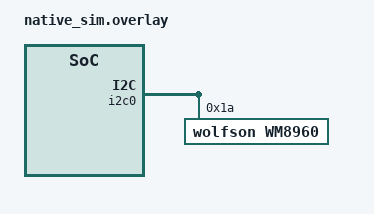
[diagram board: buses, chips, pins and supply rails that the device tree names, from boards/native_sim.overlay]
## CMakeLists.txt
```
# Copyright 2026 NXP
# SPDX-License-Identifier: Apache-2.0

cmake_minimum_required(VERSION 3.28.0)
find_package(Zephyr REQUIRED HINTS $ENV{ZEPHYR_BASE})
project(wm8960_test)

target_sources(app PRIVATE
    src/test_wm8960.c
    src/wm8960_emul.c
)

target_include_directories(app PRIVATE src)
```

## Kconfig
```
# Copyright 2026 NXP
# SPDX-License-Identifier: Apache-2.0

source "Kconfig.zephyr"

config AUDIO_CODEC_WM8960_EMUL
	bool "Wolfson WM8960 Audio Codec Emulator"
	default y
	depends on EMUL
	depends on AUDIO_CODEC_WM8960
	help
	  Enable Wolfson WM8960 audio codec emulator.

	  This emulator provides a virtual WM8960 audio codec for testing
	  purposes on native_sim and other emulation platforms.

if AUDIO_CODEC_WM8960_EMUL

config WM8960_EMUL_LOG_LEVEL
	int "WM8960 emulator log level"
	default 2
	range 0 4
	help
	  Set log level for WM8960 emulator.

	  Levels are:
	  - 0 OFF
	  - 1 ERROR
	  - 2 WARNING
	  - 3 INFO
	  - 4 DEBUG

endif # AUDIO_CODEC_WM8960_EMUL
```

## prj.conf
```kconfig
CONFIG_ZTEST=y

CONFIG_I2C=y
CONFIG_EMUL=y
CONFIG_I2C_EMUL=y

CONFIG_AUDIO=y
CONFIG_AUDIO_CODEC=y
CONFIG_TEST=y

CONFIG_LOG=y
CONFIG_AUDIO_CODEC_LOG_LEVEL_DBG=y
CONFIG_EMUL_LOG_LEVEL_DBG=y

CONFIG_HEAP_MEM_POOL_SIZE=16384
```

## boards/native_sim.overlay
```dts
/*
 * Copyright 2026 NXP
 *
 * SPDX-License-Identifier: Apache-2.0
 */

/ {
	#address-cells = <1>;
	#size-cells = <0>;

	aliases {
		wm8960 = &wm8960;
	};

	dummy_clock: dummy_clock {
		compatible = "fixed-clock";
		clock-frequency = <12288000>;
		#clock-cells = <0>;
	};
};

&i2c0 {
	#address-cells = <1>;
	#size-cells = <0>;
	status = "okay";

	wm8960: wm8960@1a {
		compatible = "wolfson,wm8960";
		reg = <0x1a>;
		clocks = <&dummy_clock>;
		hp-jd = "WM8960_JD3";
		clk-out;
		gpio1-sel = "WM8960_SYSCLK_OUT";
		left-input = "WM8960_IN_MIC_DE_13";
		right-input = "WM8960_IN_MIC_DE_12";
		status = "okay";
	};
};
```

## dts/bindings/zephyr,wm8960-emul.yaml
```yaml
# Copyright 2026 NXP
# SPDX-License-Identifier: Apache-2.0

include: [i2c-device.yaml, base.yaml]

description: WM8960 audio codec emulator
compatible: "zephyr,wm8960-emul"

properties:
  reg:
    required: true
    description: I2C device address of the emulated WM8960 codec
  wakeup-source:
    type: boolean
    description: |
      If enabled, the device can wake the system from sleep states.
  reset-gpios:
    type: phandle-array
    description: |
      GPIO connected to the codec's reset pin. This is optional and
      represents the hardware reset line if present in the system.
```

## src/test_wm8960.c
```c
/*
 * Copyright 2026 NXP
 *
 * SPDX-License-Identifier: Apache-2.0
 */

#include <zephyr/ztest.h>
#include <zephyr/device.h>
#include <zephyr/drivers/i2c.h>
#include <zephyr/drivers/i2c_emul.h>
#include <zephyr/drivers/emul.h>
#include <zephyr/audio/codec.h>
#include <zephyr/logging/log.h>

#include "wm8960_emul.h"

LOG_MODULE_REGISTER(wm8960_test, CONFIG_AUDIO_CODEC_LOG_LEVEL);

#define WM8960_NODE DT_NODELABEL(wm8960)

static const struct device *codec_dev;
static const struct emul *wm8960_emul;

static void *wm8960_setup(void)
{
	/* Get the codec device */
	codec_dev = DEVICE_DT_GET(WM8960_NODE);
	zassert_true(device_is_ready(codec_dev), "WM8960 device is not ready");

	/* Get the emulator */
	wm8960_emul = EMUL_DT_GET(WM8960_NODE);
	zassert_not_null(wm8960_emul, "WM8960 emulator not found");

	return NULL;
}

static void wm8960_before(void *fixture)
{
	ARG_UNUSED(fixture);

	/* Reset the emulator to known state before each test */
	wm8960_emul_set_reg(wm8960_emul, 0x0F, 0x0000); /* Trigger reset */
}

ZTEST_SUITE(wm8960_test, NULL, wm8960_setup, wm8960_before, NULL, NULL);

ZTEST(wm8960_test, test_wm8960_init)
{
	/* Verify that the device initialized properly */
	zassert_true(device_is_ready(codec_dev), "WM8960 device is not ready");

	/* Check that the clocking register has the expected reset value */
	LOG_INF("Clocking register: 0x%04x",
		wm8960_emul_get_reg(wm8960_emul, 0x04));

	/* Verify that the device is in a known state after initialization */
	zassert_false(wm8960_emul_is_powered_up(wm8960_emul),
			  "WM8960 should not be powered up after init");
	zassert_false(wm8960_emul_is_dac_enabled(wm8960_emul),
			  "DAC should not be enabled after init");
	zassert_false(wm8960_emul_is_adc_enabled(wm8960_emul),
			  "ADC should not be enabled after init");
	zassert_false(wm8960_emul_is_headphone_enabled(wm8960_emul),
			  "Headphone should not be enabled after init");
	zassert_false(wm8960_emul_is_speaker_enabled(wm8960_emul),
			  "Speaker should not be enabled after init");
}

ZTEST(wm8960_test, test_wm8960_configure_i2s)
{
	int ret;
	struct audio_codec_cfg config = {
		.dai_type = AUDIO_DAI_TYPE_I2S,
		.dai_route = AUDIO_ROUTE_PLAYBACK,
		.dai_cfg.i2s = {
			.word_size = 16,
			.channels = 2,
			.format = I2S_FMT_DATA_FORMAT_I2S,
			.options = I2S_OPT_FRAME_CLK_CONTROLLER | I2S_OPT_BIT_CLK_CONTROLLER,
			.frame_clk_freq = 48000,
		}};

	/* Configure the codec */
	ret = audio_codec_configure(codec_dev, &config);
	zassert_equal(ret, 0, "Failed to configure WM8960: %d", ret);

	/* Verify that the audio interface format was set correctly */
	uint8_t format = wm8960_emul_get_audio_format(wm8960_emul);

	zassert_equal(format, 2, "Audio format should be I2S (2), got %d", format);

	/* Verify that the word length was set correctly */
	uint8_t word_length = wm8960_emul_get_word_length(wm8960_emul);

	zassert_equal(word_length, 16, "Word length should be 16, got %d", word_length);
}

ZTEST(wm8960_test, test_wm8960_configure_different_word_sizes)
{
	int ret;
	struct audio_codec_cfg config = {
		.dai_type = AUDIO_DAI_TYPE_I2S,
		.dai_route = AUDIO_ROUTE_PLAYBACK,
		.dai_cfg.i2s = {
			.channels = 2,
			.format = I2S_FMT_DATA_FORMAT_I2S,
			.options = I2S_OPT_FRAME_CLK_CONTROLLER | I2S_OPT_BIT_CLK_CONTROLLER,
			.frame_clk_freq = 48000,
		}};

	/* Test different word sizes */
	uint8_t word_sizes[] = {16, 20, 24, 32};

	for (int i = 0; i < ARRAY_SIZE(word_sizes); i++) {
		config.dai_cfg.i2s.word_size = word_sizes[i];

		ret = audio_codec_configure(codec_dev, &config);
		zassert_equal(ret, 0, "Failed to configure WM8960 with %d-bit words: %d",
				  word_sizes[i], ret);

		uint8_t configured_word_length = wm8960_emul_get_word_length(wm8960_emul);

		zassert_equal(configured_word_length, word_sizes[i],
				  "Word length should be %d, got %d", word_sizes[i],
				  configured_word_length);
	}
}

ZTEST(wm8960_test, test_wm8960_configure_different_sample_rates)
{
	int ret;
	struct audio_codec_cfg config = {
		.dai_type = AUDIO_DAI_TYPE_I2S,
		.dai_route = AUDIO_ROUTE_PLAYBACK,
		.dai_cfg.i2s = {
			.word_size = 16,
			.channels = 2,
			.format = I2S_FMT_DATA_FORMAT_I2S,
			.options = I2S_OPT_FRAME_CLK_CONTROLLER | I2S_OPT_BIT_CLK_CONTROLLER,
		}};

	/* Test different sample rates */
	uint32_t sample_rates[] = {8000, 16000, 32000, 44100, 48000, 96000};

	for (int i = 0; i < ARRAY_SIZE(sample_rates); i++) {
		config.dai_cfg.i2s.frame_clk_freq = sample_rates[i];

		ret = audio_codec_configure(codec_dev, &config);
		zassert_equal(ret, 0, "Failed to configure WM8960 with %dHz: %d", sample_rates[i],
				  ret);
	}
}

ZTEST(wm8960_test, test_wm8960_configure_invalid_parameters)
{
	int ret;
	struct audio_codec_cfg config = {
		.dai_type = AUDIO_DAI_TYPE_I2S,
		.dai_route = AUDIO_ROUTE_PLAYBACK,
		.dai_cfg.i2s = {
			.word_size = 16,
			.channels = 2,
			.format = I2S_FMT_DATA_FORMAT_I2S,
			.options = I2S_OPT_FRAME_CLK_CONTROLLER | I2S_OPT_BIT_CLK_CONTROLLER,
			.frame_clk_freq = 48000,
		}};

	/* Test invalid DAI type */
	config.dai_type = 99; /* Invalid type */
	ret = audio_codec_configure(codec_dev, &config);
	zassert_not_equal(ret, 0, "Should fail with invalid DAI type");

	/* Test invalid word size */
	config.dai_type = AUDIO_DAI_TYPE_I2S;
	config.dai_cfg.i2s.word_size = 12; /* Invalid word size */
	ret = audio_codec_configure(codec_dev, &config);
	zassert_not_equal(ret, 0, "Should fail with invalid word size");

	/* Test invalid channel count */
	config.dai_cfg.i2s.word_size = 16;
	config.dai_cfg.i2s.channels = 0; /* Invalid channel count */
	ret = audio_codec_configure(codec_dev, &config);
	zassert_not_equal(ret, 0, "Should fail with invalid channel count");
}

ZTEST(wm8960_test, test_wm8960_volume_control)
{
	int ret;
	audio_property_value_t val;

	struct audio_codec_cfg config = {
		.dai_type = AUDIO_DAI_TYPE_I2S,
		.dai_route = AUDIO_ROUTE_PLAYBACK,
		.dai_cfg.i2s = {
			.word_size = 16,
			.channels = 2,
			.format = I2S_FMT_DATA_FORMAT_I2S,
			.options = I2S_OPT_FRAME_CLK_CONTROLLER | I2S_OPT_BIT_CLK_CONTROLLER,
			.frame_clk_freq = 48000,
		}};

	/* Configure the codec */
	ret = audio_codec_configure(codec_dev, &config);
	zassert_equal(ret, 0, "Failed to configure WM8960: %d", ret);

	/* Set volume to 50% (0x40) instead of 0x80 which exceeds max */
	val.vol = 0x40;
	ret = audio_codec_set_property(
		codec_dev,
		AUDIO_PROPERTY_OUTPUT_VOLUME,
		AUDIO_CHANNEL_ALL,
		val
	);
	zassert_equal(ret, 0, "Failed to set volume: %d", ret);

	/* Apply properties */
	ret = audio_codec_apply_properties(codec_dev);
	zassert_equal(ret, 0, "Failed to apply properties: %d", ret);

	/* Verify that the volume was set correctly */
	/* in wm8960 DAC volume is fixed to 0xFF */
	uint16_t left_dac_vol = wm8960_emul_get_volume(wm8960_emul, 0) & 0xFF;
	uint16_t right_dac_vol = wm8960_emul_get_volume(wm8960_emul, 1) & 0xFF;
	uint16_t left_hp_vol = wm8960_emul_get_volume(wm8960_emul, 2) & 0xFF;
	uint16_t right_hp_vol = wm8960_emul_get_volume(wm8960_emul, 3) & 0xFF;

	zassert_equal(
		left_dac_vol,
		0xFF,
		"Left DAC volume should be 0xFF, got 0x%02x",
		left_dac_vol
	);
	zassert_equal(
		right_dac_vol,
		0xFF,
		"Right DAC volume should be 0xFF, got 0x%02x",
		right_dac_vol
	);
	zassert_equal(
		left_hp_vol,
		0x40,
		"Left headphone volume should be 0x40, got 0x%02x",
		left_hp_vol
	);
	zassert_equal(
		right_hp_vol,
		0x40,
		"Right headphone volume should be 0x40, got 0x%02x",
		right_hp_vol
	);

	/* Test mute */
	val.mute = true;
	ret = audio_codec_set_property(codec_dev, AUDIO_PROPERTY_OUTPUT_MUTE, AUDIO_CHANNEL_ALL,
					   val);
	zassert_equal(ret, 0, "Failed to set mute: %d", ret);

	/* Apply properties */
	ret = audio_codec_apply_properties(codec_dev);
	zassert_equal(ret, 0, "Failed to apply properties: %d", ret);

	/* Verify that the channels are muted */
	zassert_true(wm8960_emul_is_muted(wm8960_emul, 2), "Left channel should be muted");
	zassert_true(wm8960_emul_is_muted(wm8960_emul, 3), "Right channel should be muted");

	/* Unmute */
	val.mute = false;
	ret = audio_codec_set_property(codec_dev, AUDIO_PROPERTY_OUTPUT_MUTE, AUDIO_CHANNEL_ALL,
					   val);
	zassert_equal(ret, 0, "Failed to clear mute: %d", ret);

	/* Apply properties */
	ret = audio_codec_apply_properties(codec_dev);
	zassert_equal(ret, 0, "Failed to apply properties: %d", ret);

	/* Verify that the channels are unmuted */
	zassert_false(wm8960_emul_is_muted(wm8960_emul, 2), "Left channel should be unmuted");
	zassert_false(wm8960_emul_is_muted(wm8960_emul, 3), "Right channel should be unmuted");
}

ZTEST(wm8960_test, test_wm8960_volume_boundary_values)
{
	int ret;
	audio_property_value_t val;
	uint16_t left_hp_vol;
	struct audio_codec_cfg config = {
		.dai_type = AUDIO_DAI_TYPE_I2S,
		.dai_route = AUDIO_ROUTE_PLAYBACK,
		.dai_cfg.i2s = {
			.word_size = 16,
			.channels = 2,
			.format = I2S_FMT_DATA_FORMAT_I2S,
			.options = I2S_OPT_FRAME_CLK_CONTROLLER | I2S_OPT_BIT_CLK_CONTROLLER,
			.frame_clk_freq = 48000,
		}};

	/* Configure the codec */
	ret = audio_codec_configure(codec_dev, &config);
	zassert_equal(ret, 0, "Failed to configure WM8960: %d", ret);

	/* Test minimum volume (0x00) */
	val.vol = 0x00;
	ret = audio_codec_set_property(codec_dev, AUDIO_PROPERTY_OUTPUT_VOLUME, AUDIO_CHANNEL_ALL,
					   val);
	zassert_equal(ret, 0, "Failed to set minimum volume: %d", ret);

	ret = audio_codec_apply_properties(codec_dev);
	zassert_equal(ret, 0, "Failed to apply minimum volume: %d", ret);

	left_hp_vol = wm8960_emul_get_volume(wm8960_emul, 2) & 0xFF;
	zassert_equal(left_hp_vol, 0x00, "Left volume should be 0x00, got 0x%02x", left_hp_vol);

	/* Test maximum volume (0x7F) - WM8960 max is 0x7F, not 0xFF */
	val.vol = 0x7F;
	ret = audio_codec_set_property(codec_dev, AUDIO_PROPERTY_OUTPUT_VOLUME, AUDIO_CHANNEL_ALL,
					   val);
	zassert_equal(ret, 0, "Failed to set maximum volume: %d", ret);

	ret = audio_codec_apply_properties(codec_dev);
	zassert_equal(ret, 0, "Failed to apply maximum volume: %d", ret);

	left_hp_vol = wm8960_emul_get_volume(wm8960_emul, 2) & 0xFF;
	zassert_equal(left_hp_vol, 0x7F, "Left volume should be 0x7F, got 0x%02x", left_hp_vol);
}

ZTEST(wm8960_test, test_wm8960_individual_channel_control)
{
	int ret;
	audio_property_value_t val;
	struct audio_codec_cfg config = {
		.dai_type = AUDIO_DAI_TYPE_I2S,
		.dai_route = AUDIO_ROUTE_PLAYBACK,
		.dai_cfg.i2s = {
			.word_size = 16,
			.channels = 2,
			.format = I2S_FMT_DATA_FORMAT_I2S,
			.options = I2S_OPT_FRAME_CLK_CONTROLLER | I2S_OPT_BIT_CLK_CONTROLLER,
			.frame_clk_freq = 48000,
		}};

	/* Configure the codec */
	ret = audio_codec_configure(codec_dev, &config);
	zassert_equal(ret, 0, "Failed to configure WM8960: %d", ret);

	/* Set left channel volume to 25% (0x20) */
	val.vol = 0x20;
	ret = audio_codec_set_property(codec_dev, AUDIO_PROPERTY_OUTPUT_VOLUME,
					   AUDIO_CHANNEL_FRONT_LEFT, val);
	zassert_equal(ret, 0, "Failed to set left volume: %d", ret);

	/* Set right channel volume to 75% (0x60) */
	val.vol = 0x60;
	ret = audio_codec_set_property(codec_dev, AUDIO_PROPERTY_OUTPUT_VOLUME,
					   AUDIO_CHANNEL_FRONT_RIGHT, val);
	zassert_equal(ret, 0, "Failed to set right volume: %d", ret);

	/* Apply properties */
	ret = audio_codec_apply_properties(codec_dev);
	zassert_equal(ret, 0, "Failed to apply properties: %d", ret);

	/* Verify that the volumes were set correctly */
	uint16_t left_vol = wm8960_emul_get_volume(wm8960_emul, 2) & 0xFF;
	uint16_t right_vol = wm8960_emul_get_volume(wm8960_emul, 3) & 0xFF;

	zassert_equal(left_vol, 0x20, "Left volume should be 0x20, got 0x%02x", left_vol);
	zassert_equal(right_vol, 0x60, "Right volume should be 0x60, got 0x%02x", right_vol);

	/* Mute only left channel */
	val.mute = true;
	ret = audio_codec_set_property(codec_dev, AUDIO_PROPERTY_OUTPUT_MUTE,
					   AUDIO_CHANNEL_FRONT_LEFT, val);
	zassert_equal(ret, 0, "Failed to mute left channel: %d", ret);

	/* Apply properties */
	ret = audio_codec_apply_properties(codec_dev);
	zassert_equal(ret, 0, "Failed to apply properties: %d", ret);

	/* Verify left output is muted and right is not */
	zassert_true(wm8960_emul_is_muted(wm8960_emul, 2), "Left channel should be muted");
	zassert_false(wm8960_emul_is_muted(wm8960_emul, 3), "Right channel shouldn't be muted");
}

ZTEST(wm8960_test, test_wm8960_input_volume_control)
{
	int ret;
	audio_property_value_t val;
	struct audio_codec_cfg config = {
		.dai_type = AUDIO_DAI_TYPE_I2S,
		.dai_route = AUDIO_ROUTE_PLAYBACK_CAPTURE,
		.dai_cfg.i2s = {
			.word_size = 16,
			.channels = 2,
			.format = I2S_FMT_DATA_FORMAT_I2S,
			.options = I2S_OPT_FRAME_CLK_CONTROLLER | I2S_OPT_BIT_CLK_CONTROLLER,
			.frame_clk_freq = 48000,
		}};

	/* Configure the codec */
	ret = audio_codec_configure(codec_dev, &config);
	zassert_equal(ret, 0, "Failed to configure WM8960: %d", ret);

	/* Set input volume to 50% (0x40) */
	val.vol = 0x40;
	ret = audio_codec_set_property(codec_dev,
		AUDIO_PROPERTY_INPUT_VOLUME,
		AUDIO_CHANNEL_ALL,
		val
	);
	zassert_equal(ret, 0, "Failed to set input volume: %d", ret);

	/* Apply properties */
	ret = audio_codec_apply_properties(codec_dev);
	zassert_equal(ret, 0, "Failed to apply input volume: %d", ret);

	/* Verify that the input volume was set correctly */
	uint16_t right_adc_vol = wm8960_emul_get_volume(wm8960_emul, 7) & 0xFF; /* Right ADC */

	zassert_equal(
		right_adc_vol,
		0x40,
		"Right ADC volume should be 0x40, got 0x%02x",
		right_adc_vol
	);

	/* Test input mute */
	val.mute = true;
	ret = audio_codec_set_property(codec_dev, AUDIO_PROPERTY_INPUT_MUTE, AUDIO_CHANNEL_ALL,
					   val);
	zassert_equal(ret, 0, "Failed to set input mute: %d", ret);

	ret = audio_codec_apply_properties(codec_dev);
	zassert_equal(ret, 0, "Failed to apply input mute: %d", ret);
}

ZTEST(wm8960_test, test_wm8960_invalid_properties)
{
	int ret;
	audio_property_value_t val;
	struct audio_codec_cfg config = {
		.dai_type = AUDIO_DAI_TYPE_I2S,
		.dai_route = AUDIO_ROUTE_PLAYBACK,
		.dai_cfg.i2s = {
			.word_size = 16,
			.channels = 2,
			.format = I2S_FMT_DATA_FORMAT_I2S,
			.options = I2S_OPT_FRAME_CLK_CONTROLLER | I2S_OPT_BIT_CLK_CONTROLLER,
			.frame_clk_freq = 48000,
		}};

	/* Configure the codec */
	ret = audio_codec_configure(codec_dev, &config);
	zassert_equal(ret, 0, "Failed to configure WM8960: %d", ret);

	/* Test invalid property */
	val.vol = 0x80;
	ret = audio_codec_set_property(codec_dev, 999, AUDIO_CHANNEL_ALL, val);
	zassert_not_equal(ret, 0, "Should fail with invalid property");

	/* Test invalid channel */
	ret = audio_codec_set_property(codec_dev, AUDIO_PROPERTY_OUTPUT_VOLUME, 999, val);
	zassert_not_equal(ret, 0, "Should fail with invalid channel");
}

ZTEST(wm8960_test, test_wm8960_reset)
{
	int ret;
	struct audio_codec_cfg config = {
		.dai_type = AUDIO_DAI_TYPE_I2S,
		.dai_route = AUDIO_ROUTE_PLAYBACK_CAPTURE,
		.dai_cfg.i2s = {
			.word_size = 16,
			.channels = 2,
			.format = I2S_FMT_DATA_FORMAT_I2S,
			.options = I2S_OPT_FRAME_CLK_CONTROLLER | I2S_OPT_BIT_CLK_CONTROLLER,
			.frame_clk_freq = 48000,
		}
	};

	/* Configure the codec */
	ret = audio_codec_configure(codec_dev, &config);
	zassert_equal(ret, 0, "Failed to configure WM8960: %d", ret);

	/* Verify that the codec is powered up */
	zassert_true(wm8960_emul_is_powered_up(wm8960_emul),
			 "WM8960 should be powered up");

	/* Trigger a reset by writing to the reset register */
	wm8960_emul_set_reg(wm8960_emul, 0x0F, 0x0000);

	/* Verify that the codec is reset to default state */
	zassert_false(wm8960_emul_is_powered_up(wm8960_emul),
			  "WM8960 should be powered down after reset");
	zassert_false(wm8960_emul_is_dac_enabled(wm8960_emul),
			  "DAC should be disabled after reset");
	zassert_false(wm8960_emul_is_adc_enabled(wm8960_emul),
			  "ADC should be disabled after reset");

	/* Verify that the volume registers are reset to default values */
	uint16_t left_dac_vol = wm8960_emul_get_volume(wm8960_emul, 0);

	zassert_equal(left_dac_vol, 0x00FF, "Left DAC volume should be reset to 0x00FF, got 0x%04x",
			  left_dac_vol);
}

ZTEST(wm8960_test, test_wm8960_pll_configuration)
{
	/* Test PLL enable/disable functionality */
	zassert_false(wm8960_emul_is_pll_enabled(wm8960_emul), "PLL should be disabled by default");

	/* Enable PLL by setting CLKSEL bit */
	wm8960_emul_set_reg(wm8960_emul, 0x04, 0x0001); /* CLOCKING_1 register */
	zassert_true(wm8960_emul_is_pll_enabled(wm8960_emul),
			 "PLL should be enabled after setting CLKSEL");

	/* Disable PLL */
	wm8960_emul_set_reg(wm8960_emul, 0x04, 0x0000);
	zassert_false(wm8960_emul_is_pll_enabled(wm8960_emul),
			  "PLL should be disabled after clearing CLKSEL");
}

ZTEST(wm8960_test, test_wm8960_register_access)
{
	/* Test direct register access */
	uint16_t test_value = 0x0123;
	uint8_t test_reg = 0x04; /* CLOCKING_1 register */

	/* Write to register */
	wm8960_emul_set_reg(wm8960_emul, test_reg, test_value);

	/* Read back and verify */
	uint16_t read_value = wm8960_emul_get_reg(wm8960_emul, test_reg);

	zassert_equal(read_value, test_value,
			  "Register read/write mismatch: wrote 0x%04x, read 0x%04x", test_value,
			  read_value);

	/* Test invalid register access */
	uint16_t invalid_reg_value = wm8960_emul_get_reg(wm8960_emul, 0xFF);

	zassert_equal(invalid_reg_value, 0, "Invalid register should return 0");
}

ZTEST(wm8960_test, test_wm8960_speaker_output)
{
	/* Test speaker output functionality */
	audio_codec_start_output(codec_dev);

	/* Check if speaker output can be enabled */
	if (wm8960_emul_is_speaker_enabled(wm8960_emul)) {
		LOG_INF("Speaker output is enabled");

		/* Test speaker volume control */
		LOG_INF("Speaker volumes - Left: 0x%04x, Right: 0x%04x",
			wm8960_emul_get_volume(wm8960_emul, 4),
			wm8960_emul_get_volume(wm8960_emul, 5));
	}

	audio_codec_stop_output(codec_dev);
}

ZTEST(wm8960_test, test_wm8960_power_state_transitions)
{
	/* Test various power state transitions */
	int ret;
	struct audio_codec_cfg config = {
		.dai_type = AUDIO_DAI_TYPE_I2S,
		.dai_route = AUDIO_ROUTE_PLAYBACK_CAPTURE,
		.dai_cfg.i2s = {
			.word_size = 16,
			.channels = 2,
			.format = I2S_FMT_DATA_FORMAT_I2S,
			.options = I2S_OPT_FRAME_CLK_CONTROLLER | I2S_OPT_BIT_CLK_CONTROLLER,
			.frame_clk_freq = 48000,
		}
	};

	/* Initial state - all off */
	zassert_false(wm8960_emul_is_powered_up(wm8960_emul), "Should start powered down");

	/* Configure the codec */
	ret = audio_codec_configure(codec_dev, &config);
	zassert_equal(ret, 0, "Failed to configure WM8960: %d", ret);

	zassert_true(wm8960_emul_is_powered_up(wm8960_emul), "Should be powered up with output");
	zassert_true(wm8960_emul_is_dac_enabled(wm8960_emul), "DAC should be enabled");
	zassert_true(wm8960_emul_is_adc_enabled(wm8960_emul), "ADC should be enabled");

	/* Remove output, keep input */
	audio_codec_stop_output(codec_dev);
	zassert_true(wm8960_emul_is_powered_up(wm8960_emul), "Should remain powered for input");
}
```

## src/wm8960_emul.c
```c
/*
 * Copyright 2026 NXP
 *
 * SPDX-License-Identifier: Apache-2.0
 */

#include <zephyr/device.h>
#include <zephyr/drivers/emul.h>
#include <zephyr/drivers/i2c.h>
#include <zephyr/drivers/i2c_emul.h>
#include <zephyr/logging/log.h>
#include <zephyr/sys/byteorder.h>
#include <string.h>

#include "wm8960_emul.h"

LOG_MODULE_REGISTER(wolfson_wm8960_emul, CONFIG_WM8960_EMUL_LOG_LEVEL);

#define DT_DRV_COMPAT wolfson_wm8960

/* WM8960 Register definitions */
#define WM8960_REG_LEFT_INPUT_VOLUME    0x00
#define WM8960_REG_RIGHT_INPUT_VOLUME   0x01
#define WM8960_REG_LOUT1_VOLUME         0x02
#define WM8960_REG_ROUT1_VOLUME         0x03
#define WM8960_REG_CLOCKING_1           0x04
#define WM8960_REG_ADC_DAC_CTRL_1       0x05
#define WM8960_REG_ADC_DAC_CTRL_2       0x06
#define WM8960_REG_AUDIO_INTERFACE_1    0x07
#define WM8960_REG_CLOCKING_2           0x08
#define WM8960_REG_AUDIO_INTERFACE_2    0x09
#define WM8960_REG_LEFT_DAC_VOLUME      0x0A
#define WM8960_REG_RIGHT_DAC_VOLUME     0x0B
#define WM8960_REG_RESET                0x0F
#define WM8960_REG_3D_CONTROL           0x10
#define WM8960_REG_ALC1                 0x11
#define WM8960_REG_ALC2                 0x12
#define WM8960_REG_ALC3                 0x13
#define WM8960_REG_NOISE_GATE           0x14
#define WM8960_REG_LEFT_ADC_VOLUME      0x15
#define WM8960_REG_RIGHT_ADC_VOLUME     0x16
#define WM8960_REG_ADDITIONAL_CONTROL_1 0x17
#define WM8960_REG_ADDITIONAL_CONTROL_2 0x18
#define WM8960_REG_POWER_MGMT_1         0x19
#define WM8960_REG_POWER_MGMT_2         0x1A
#define WM8960_REG_ADDITIONAL_CONTROL_3 0x1B
#define WM8960_REG_ANTI_POP_1           0x1C
#define WM8960_REG_ANTI_POP_2           0x1D
#define WM8960_REG_ADCL_SIGNAL_PATH     0x20
#define WM8960_REG_ADCR_SIGNAL_PATH     0x21
#define WM8960_REG_LEFT_OUT_MIX_1       0x22
#define WM8960_REG_RIGHT_OUT_MIX_2      0x25
#define WM8960_REG_MONO_OUT_MIX_1       0x26
#define WM8960_REG_MONO_OUT_MIX_2       0x27
#define WM8960_REG_LOUT2_VOLUME         0x28
#define WM8960_REG_ROUT2_VOLUME         0x29
#define WM8960_REG_MONO_OUT_VOLUME      0x2A
#define WM8960_REG_INPUT_BOOST_MIXER_1  0x2B
#define WM8960_REG_INPUT_BOOST_MIXER_2  0x2C
#define WM8960_REG_BYPASS_1             0x2D
#define WM8960_REG_BYPASS_2             0x2E
#define WM8960_REG_POWER_MGMT_3         0x2F
#define WM8960_REG_ADDITIONAL_CONTROL_4 0x30
#define WM8960_REG_CLASS_D_CONTROL_1    0x31
#define WM8960_REG_CLASS_D_CONTROL_3    0x33
#define WM8960_REG_PLL_N                0x34
#define WM8960_REG_PLL_K1               0x35
#define WM8960_REG_PLL_K2               0x36
#define WM8960_REG_PLL_K3               0x37

/* Maximum register address */
#define WM8960_NUM_REGS 56

/* Register bit masks */
#define WM8960_REGMASK_OUT_VOL  0x00FF
#define WM8960_REGMASK_OUT_MUTE 0x0100
#define WM8960_REGMASK_OUT_VU   0x0200
#define WM8960_REGMASK_OUT_BOTH 0x0080 /* Update both channels */

/* Audio interface formats */
#define WM8960_AIF_FMT_MASK            0x0003
#define WM8960_AIF_FMT_RIGHT_JUSTIFIED 0x0000
#define WM8960_AIF_FMT_LEFT_JUSTIFIED  0x0001
#define WM8960_AIF_FMT_I2S             0x0002
#define WM8960_AIF_FMT_DSP             0x0003

/* Word lengths */
#define WM8960_AIF_WL_MASK   0x000C
#define WM8960_AIF_WL_16BITS 0x0000
#define WM8960_AIF_WL_20BITS 0x0004
#define WM8960_AIF_WL_24BITS 0x0008
#define WM8960_AIF_WL_32BITS 0x000C

/* Power management bits */
#define WM8960_POWER1_VREF 0x0040
#define WM8960_POWER1_AINL 0x0020
#define WM8960_POWER1_AINR 0x0010
#define WM8960_POWER1_ADCL 0x0008
#define WM8960_POWER1_ADCR 0x0004

#define WM8960_POWER2_DACL  0x0100
#define WM8960_POWER2_DACR  0x0080
#define WM8960_POWER2_LOUT1 0x0040
#define WM8960_POWER2_ROUT1 0x0020
#define WM8960_POWER2_SPKL  0x0010
#define WM8960_POWER2_SPKR  0x0008

#define WM8960_POWER3_LMIC  0x0020
#define WM8960_POWER3_RMIC  0x0010
#define WM8960_POWER3_LOMIX 0x0008
#define WM8960_POWER3_ROMIX 0x0004

/* Clock dividers */
#define WM8960_CLOCK1_SYSCLK_DIV_MASK 0x0070
#define WM8960_CLOCK1_SYSCLK_DIV_1    0x0000
#define WM8960_CLOCK1_SYSCLK_DIV_2    0x0010
#define WM8960_CLOCK1_SYSCLK_DIV_3    0x0020
#define WM8960_CLOCK1_SYSCLK_DIV_4    0x0030
#define WM8960_CLOCK1_SYSCLK_DIV_5    0x0040
#define WM8960_CLOCK1_SYSCLK_DIV_6    0x0050

#define WM8960_CLOCK1_CLKSEL_MCLK 0x0000
#define WM8960_CLOCK1_CLKSEL_PLL  0x0001

struct wm8960_emul_data {
	uint16_t reg[WM8960_NUM_REGS];
	uint8_t current_reg;
	bool reg_addr_set;
	bool powered_up;
	bool dac_enabled;
	bool adc_enabled;
	bool headphone_enabled;
	bool speaker_enabled;
};

struct wm8960_emul_cfg {
	uint16_t addr;
	const struct device *i2c_dev;
};

static void wm8960_emul_reset_registers(struct wm8960_emul_data *data)
{
	/* Initialize registers with default values */
	memset(data->reg, 0, sizeof(data->reg));

	/* Set default values for key registers (sourced from the datasheet) */
	data->reg[WM8960_REG_LEFT_INPUT_VOLUME] = 0x0097;
	data->reg[WM8960_REG_RIGHT_INPUT_VOLUME] = 0x0097;
	data->reg[WM8960_REG_LOUT1_VOLUME] = 0x0000;
	data->reg[WM8960_REG_ROUT1_VOLUME] = 0x0000;
	data->reg[WM8960_REG_CLOCKING_1] = 0x0000;
	data->reg[WM8960_REG_ADC_DAC_CTRL_1] = 0x0008;
	data->reg[WM8960_REG_ADC_DAC_CTRL_2] = 0x0000;
	data->reg[WM8960_REG_AUDIO_INTERFACE_1] = 0x000A;
	data->reg[WM8960_REG_CLOCKING_2] = 0x01C0;
	data->reg[WM8960_REG_AUDIO_INTERFACE_2] = 0x0000;
	data->reg[WM8960_REG_LEFT_DAC_VOLUME] = 0x00FF;
	data->reg[WM8960_REG_RIGHT_DAC_VOLUME] = 0x00FF;
	data->reg[WM8960_REG_3D_CONTROL] = 0x0000;
	data->reg[WM8960_REG_ALC1] = 0x007B;
	data->reg[WM8960_REG_ALC2] = 0x0100;
	data->reg[WM8960_REG_ALC3] = 0x0032;
	data->reg[WM8960_REG_NOISE_GATE] = 0x0000;
	data->reg[WM8960_REG_LEFT_ADC_VOLUME] = 0x00C3;
	data->reg[WM8960_REG_RIGHT_ADC_VOLUME] = 0x00C3;
	data->reg[WM8960_REG_ADDITIONAL_CONTROL_1] = 0x01C0;
	data->reg[WM8960_REG_ADDITIONAL_CONTROL_2] = 0x0000;
	data->reg[WM8960_REG_POWER_MGMT_1] = 0x0000;
	data->reg[WM8960_REG_POWER_MGMT_2] = 0x0000;
	data->reg[WM8960_REG_ADDITIONAL_CONTROL_3] = 0x0000;
	data->reg[WM8960_REG_ANTI_POP_1] = 0x0000;
	data->reg[WM8960_REG_ANTI_POP_2] = 0x0000;
	data->reg[WM8960_REG_ADCL_SIGNAL_PATH] = 0x0100;
	data->reg[WM8960_REG_ADCR_SIGNAL_PATH] = 0x0100;
	data->reg[WM8960_REG_LEFT_OUT_MIX_1] = 0x0050;
	data->reg[WM8960_REG_RIGHT_OUT_MIX_2] = 0x0050;
	data->reg[WM8960_REG_MONO_OUT_MIX_1] = 0x0000;
	data->reg[WM8960_REG_MONO_OUT_MIX_2] = 0x0000;
	data->reg[WM8960_REG_LOUT2_VOLUME] = 0x0000;
	data->reg[WM8960_REG_ROUT2_VOLUME] = 0x0000;
	data->reg[WM8960_REG_MONO_OUT_VOLUME] = 0x0040;
	data->reg[WM8960_REG_POWER_MGMT_3] = 0x0000;
	data->reg[WM8960_REG_CLASS_D_CONTROL_1] = 0x0037;
	data->reg[WM8960_REG_PLL_N] = 0x0000;
	data->reg[WM8960_REG_PLL_K1] = 0x0031;
	data->reg[WM8960_REG_PLL_K2] = 0x0038;
	data->reg[WM8960_REG_PLL_K3] = 0x00E9;

	/* Reset state variables */
	data->current_reg = 0;
	data->reg_addr_set = false;
	data->powered_up = false;
	data->dac_enabled = false;
	data->adc_enabled = false;
	data->headphone_enabled = false;
	data->speaker_enabled = false;
}

uint16_t wm8960_emul_get_reg(const struct emul *target, uint8_t reg_addr)
{
	struct wm8960_emul_data *data = target->data;

	if (reg_addr < WM8960_NUM_REGS) {
		return data->reg[reg_addr];
	}
	return 0;
}

void wm8960_emul_set_reg(const struct emul *target, uint8_t reg_addr, uint16_t val)
{
	struct wm8960_emul_data *data = target->data;

	if (reg_addr < WM8960_NUM_REGS) {
		data->reg[reg_addr] = val;

		/* Special handling for reset register */
		if (reg_addr == WM8960_REG_RESET) {
			LOG_INF("WM8960 emulator: Software reset triggered via direct register "
				"write");
			wm8960_emul_reset_registers(data);
			return;
		}

		/* Update internal state based on register changes */
		switch (reg_addr) {
		case WM8960_REG_POWER_MGMT_1:
			data->adc_enabled = (val & (WM8960_POWER1_ADCL | WM8960_POWER1_ADCR)) != 0;
			break;
		case WM8960_REG_POWER_MGMT_2:
			data->dac_enabled = (val & (WM8960_POWER2_DACL | WM8960_POWER2_DACR)) != 0;
			data->headphone_enabled =
				(val & (WM8960_POWER2_LOUT1 | WM8960_POWER2_ROUT1)) != 0;
			data->speaker_enabled =
				(val & (WM8960_POWER2_SPKL | WM8960_POWER2_SPKR)) != 0;
			data->powered_up = data->dac_enabled || data->adc_enabled ||
					   data->headphone_enabled || data->speaker_enabled;
			break;
		case WM8960_REG_POWER_MGMT_3:
			data->speaker_enabled = (val &
					 (WM8960_POWER3_LOMIX | WM8960_POWER3_ROMIX)) != 0;
			data->powered_up = data->dac_enabled || data->adc_enabled ||
					   data->headphone_enabled || data->speaker_enabled;
			break;
		default:
			break;
		}
	}
}

bool wm8960_emul_is_powered_up(const struct emul *target)
{
	struct wm8960_emul_data *data = target->data;

	return data->powered_up;
}

bool wm8960_emul_is_dac_enabled(const struct emul *target)
{
	struct wm8960_emul_data *data = target->data;

	return data->dac_enabled;
}

bool wm8960_emul_is_adc_enabled(const struct emul *target)
{
	struct wm8960_emul_data *data = target->data;

	return data->adc_enabled;
}

bool wm8960_emul_is_headphone_enabled(const struct emul *target)
{
	struct wm8960_emul_data *data = target->data;

	return data->headphone_enabled;
}

bool wm8960_emul_is_speaker_enabled(const struct emul *target)
{
	struct wm8960_emul_data *data = target->data;

	return data->speaker_enabled;
}

static int wm8960_emul_write(const struct emul *target, int reg, int val, int bytes,
			     void *unused_data)
{
	struct wm8960_emul_data *data = target->data;

	ARG_UNUSED(unused_data);

	if (!data->reg_addr_set) {
		/* First byte is register address and MSB of data */
		data->current_reg = (reg >> 1) & 0x7F;
		/* Store MSB of data (bit 8) */
		data->reg[data->current_reg] =
			(data->reg[data->current_reg] & 0x00FF) | ((reg & 0x01) << 8);
		data->reg_addr_set = true;
		LOG_DBG("WM8960 emulator: Set register address 0x%02x, MSB=0x%01x",
			data->current_reg, reg & 0x01);
		return 0;
	}

	/* Second byte is data (bits 0-7) */
	if (data->current_reg < WM8960_NUM_REGS) {
		/* Update lower 8 bits */
		data->reg[data->current_reg] = (data->reg[data->current_reg] & 0x0100) | val;
		LOG_DBG("WM8960 emulator: Write 0x%02x to reg 0x%02x, final value 0x%04x", val,
			data->current_reg, data->reg[data->current_reg]);

		/* Handle special registers that trigger actions */
		switch (data->current_reg) {
		case WM8960_REG_RESET:
			LOG_INF("WM8960 emulator: Software reset triggered");
			wm8960_emul_reset_registers(data);
			break;

		case WM8960_REG_POWER_MGMT_1:
			/* Update ADC power state */
			data->adc_enabled = (data->reg[data->current_reg] &
					     (WM8960_POWER1_ADCL | WM8960_POWER1_ADCR)) != 0;
			LOG_DBG("WM8960 emulator: ADC power state: %s",
				data->adc_enabled ? "ON" : "OFF");
			break;

		case WM8960_REG_POWER_MGMT_2:
			/* Update DAC and output power states */
			data->dac_enabled = (data->reg[data->current_reg] &
					     (WM8960_POWER2_DACL | WM8960_POWER2_DACR)) != 0;
			data->headphone_enabled =
				(data->reg[data->current_reg] &
				 (WM8960_POWER2_LOUT1 | WM8960_POWER2_ROUT1)) != 0;
			data->speaker_enabled = (data->reg[data->current_reg] &
						 (WM8960_POWER2_SPKL | WM8960_POWER2_SPKR)) != 0;
			data->powered_up = data->dac_enabled || data->adc_enabled ||
					   data->headphone_enabled || data->speaker_enabled;
			LOG_DBG("WM8960 emulator: Power states - DAC: %s, Headphone: %s, Speaker: "
				"%s",
				data->dac_enabled ? "ON" : "OFF",
				data->headphone_enabled ? "ON" : "OFF",
				data->speaker_enabled ? "ON" : "OFF");
			break;

		case WM8960_REG_POWER_MGMT_3:
			/* Update output mixer power state */
			data->speaker_enabled = (data->reg[data->current_reg] &
					 (WM8960_POWER3_LOMIX | WM8960_POWER3_ROMIX)) != 0;
			data->powered_up = data->dac_enabled || data->adc_enabled ||
					   data->headphone_enabled || data->speaker_enabled;
			LOG_DBG("WM8960 emulator: Output mixer power state updated: %s",
				data->speaker_enabled ? "ON" : "OFF");
			break;

		case WM8960_REG_AUDIO_INTERFACE_1:
			LOG_DBG("WM8960 emulator: Audio interface format set to 0x%04x",
				data->reg[data->current_reg]);
			break;

		case WM8960_REG_LEFT_DAC_VOLUME:
		case WM8960_REG_RIGHT_DAC_VOLUME:
			LOG_DBG("WM8960 emulator: DAC volume reg 0x%02x set to 0x%04x",
				data->current_reg, data->reg[data->current_reg]);

			/* Handle DACVU bit (update both channels) */
			if ((data->reg[data->current_reg] & WM8960_REGMASK_OUT_VU) &&
			    (data->current_reg == WM8960_REG_LEFT_DAC_VOLUME)) {
				/* Copy left volume to right volume, preserving VU bit */
				data->reg[WM8960_REG_RIGHT_DAC_VOLUME] =
					(data->reg[WM8960_REG_RIGHT_DAC_VOLUME] &
					 WM8960_REGMASK_OUT_VU) |
					(data->reg[WM8960_REG_LEFT_DAC_VOLUME] &
					 ~WM8960_REGMASK_OUT_VU);
				LOG_DBG("WM8960 emulator: Copied left DAC volume to right: 0x%04x",
					data->reg[WM8960_REG_RIGHT_DAC_VOLUME]);
			}
			break;

		case WM8960_REG_LOUT1_VOLUME:
		case WM8960_REG_ROUT1_VOLUME:
			LOG_DBG("WM8960 emulator: Headphone output reg 0x%02x set to 0x%04x",
				data->current_reg, data->reg[data->current_reg]);

			/* Handle HPVU bit (update both channels) */
			if ((data->reg[data->current_reg] & WM8960_REGMASK_OUT_VU) &&
			    (data->current_reg == WM8960_REG_LOUT1_VOLUME)) {
				/* Copy left volume to right volume, preserving VU bit */
				data->reg[WM8960_REG_ROUT1_VOLUME] =
					(data->reg[WM8960_REG_ROUT1_VOLUME] &
					 WM8960_REGMASK_OUT_VU) |
					(data->reg[WM8960_REG_LOUT1_VOLUME] &
					 ~WM8960_REGMASK_OUT_VU);
				LOG_DBG("WM8960 emulator: Copied left HP volume to right: 0x%04x",
					data->reg[WM8960_REG_ROUT1_VOLUME]);
			}
			break;

		case WM8960_REG_LOUT2_VOLUME:
		case WM8960_REG_ROUT2_VOLUME:
			LOG_DBG("WM8960 emulator: Speaker output reg 0x%02x set to 0x%04x",
				data->current_reg, data->reg[data->current_reg]);

			/* Handle SPKVU bit (update both channels) */
			if ((data->reg[data->current_reg] & WM8960_REGMASK_OUT_VU) &&
			    (data->current_reg == WM8960_REG_LOUT2_VOLUME)) {
				/* Copy left volume to right volume, preserving VU bit */
				data->reg[WM8960_REG_ROUT2_VOLUME] =
					(data->reg[WM8960_REG_ROUT2_VOLUME] &
					 WM8960_REGMASK_OUT_VU) |
					(data->reg[WM8960_REG_LOUT2_VOLUME] &
					 ~WM8960_REGMASK_OUT_VU);
				LOG_DBG("WM8960 emulator: Copied left SPK volume to right: 0x%04x",
					data->reg[WM8960_REG_ROUT2_VOLUME]);
			}
			break;

		case WM8960_REG_CLOCKING_1:
		case WM8960_REG_CLOCKING_2:
			LOG_DBG("WM8960 emulator: Clock configuration reg 0x%02x set to 0x%04x",
				data->current_reg, data->reg[data->current_reg]);
			break;

		case WM8960_REG_PLL_N:
		case WM8960_REG_PLL_K1:
		case WM8960_REG_PLL_K2:
		case WM8960_REG_PLL_K3:
			LOG_DBG("WM8960 emulator: PLL control reg 0x%02x set to 0x%04x",
				data->current_reg, data->reg[data->current_reg]);
			break;

		default:
			/* No special handling needed */
			break;
		}
	} else {
		LOG_WRN("WM8960 emulator: Write to invalid register 0x%02x", data->current_reg);
		return -EINVAL;
	}

	return 0;
}

static int wm8960_emul_transfer_i2c(const struct emul *target, struct i2c_msg *msgs, int num_msgs,
				    int addr)
{
	struct wm8960_emul_data *data = target->data;
	int ret = 0;

	ARG_UNUSED(addr);

	/* Reset register address tracking for new transfer */
	data->reg_addr_set = false;

	LOG_DBG("WM8960 emulator: I2C transfer with %d messages", num_msgs);

	for (int i = 0; i < num_msgs; i++) {
		if (msgs[i].flags & I2C_MSG_READ) {
			/*
			 * WM8960 doesn't support reads in real hardware, but we'll implement it
			 * for testing purposes
			 */
			LOG_WRN("WM8960 emulator: Read operation requested (not supported in real "
				"hardware)");

			/* Fill buffer with register value */
			if (data->current_reg < WM8960_NUM_REGS) {
				if (msgs[i].len >= 1) {
					msgs[i].buf[0] = (data->reg[data->current_reg] >> 8) & 0x01;
				}
				if (msgs[i].len >= 2) {
					msgs[i].buf[1] = data->reg[data->current_reg] & 0xFF;
				}
			} else {
				ret = -EINVAL;
				break;
			}
		} else {
			/* Write operation */
			for (int j = 0; j < msgs[i].len; j++) {
				ret = wm8960_emul_write(target, msgs[i].buf[j], msgs[i].buf[j],
							j + 1, NULL);
				if (ret != 0) {
					break;
				}
			}
		}
		if (ret != 0) {
			LOG_ERR("WM8960 emulator: Transfer failed with error %d", ret);
			break;
		}
	}

	return ret;
}

static const struct i2c_emul_api wm8960_emul_api_i2c = {
	.transfer = wm8960_emul_transfer_i2c,
};

static int wm8960_emul_init(const struct emul *target, const struct device *parent)
{
	struct wm8960_emul_data *data = target->data;

	ARG_UNUSED(parent);

	wm8960_emul_reset_registers(data);

	LOG_INF("WM8960 emulator initialized with %d registers", WM8960_NUM_REGS);
	return 0;
}

/* Additional helper functions for testing */
uint16_t wm8960_emul_get_volume(const struct emul *target, uint8_t channel)
{
	struct wm8960_emul_data *data = target->data;

	switch (channel) {
	case 0: /* Left DAC */
		return data->reg[WM8960_REG_LEFT_DAC_VOLUME];
	case 1: /* Right DAC */
		return data->reg[WM8960_REG_RIGHT_DAC_VOLUME];
	case 2: /* Left Headphone */
		return data->reg[WM8960_REG_LOUT1_VOLUME];
	case 3: /* Right Headphone */
		return data->reg[WM8960_REG_ROUT1_VOLUME];
	case 4: /* Left Speaker */
		return data->reg[WM8960_REG_LOUT2_VOLUME];
	case 5: /* Right Speaker */
		return data->reg[WM8960_REG_ROUT2_VOLUME];
	case 6: /* Left ADC */
		return data->reg[WM8960_REG_LEFT_ADC_VOLUME];
	case 7: /* Right ADC */
		return data->reg[WM8960_REG_RIGHT_ADC_VOLUME];
	default:
		return 0;
	}
}

bool wm8960_emul_is_muted(const struct emul *target, uint8_t channel)
{
	struct wm8960_emul_data *data = target->data;
	uint16_t reg_val;

	switch (channel) {
	case 0: /* Left DAC */
		reg_val = data->reg[WM8960_REG_LEFT_DAC_VOLUME] & 0xFF;
		break;
	case 1: /* Right DAC */
		reg_val = data->reg[WM8960_REG_RIGHT_DAC_VOLUME] & 0xFF;
		break;
	case 2: /* Left Headphone */
		reg_val = data->reg[WM8960_REG_LOUT1_VOLUME] & 0xFF;
		break;
	case 3: /* Right Headphone */
		reg_val = data->reg[WM8960_REG_ROUT1_VOLUME] & 0xFF;
		break;
	case 4: /* Left Speaker */
		reg_val = data->reg[WM8960_REG_LOUT2_VOLUME] & 0xFF;
		break;
	case 5: /* Right Speaker */
		reg_val = data->reg[WM8960_REG_ROUT2_VOLUME] & 0xFF;
		break;
	default:
		return false;
	}

	return reg_val == 0;
}

uint8_t wm8960_emul_get_audio_format(const struct emul *target)
{
	struct wm8960_emul_data *data = target->data;

	return data->reg[WM8960_REG_AUDIO_INTERFACE_1] & WM8960_AIF_FMT_MASK;
}

uint8_t wm8960_emul_get_word_length(const struct emul *target)
{
	struct wm8960_emul_data *data = target->data;
	uint8_t wl_bits = (data->reg[WM8960_REG_AUDIO_INTERFACE_1] & WM8960_AIF_WL_MASK) >> 2;

	switch (wl_bits) {
	case 0:
		return 16;
	case 1:
		return 20;
	case 2:
		return 24;
	case 3:
		return 32;
	default:
		return 0;
	}
}

bool wm8960_emul_is_pll_enabled(const struct emul *target)
{
	struct wm8960_emul_data *data = target->data;

	return (data->reg[WM8960_REG_CLOCKING_1] & WM8960_CLOCK1_CLKSEL_PLL) != 0;
}

#define WM8960_EMUL_DEFINE(inst)                                                                   \
	static struct wm8960_emul_data wm8960_emul_data_##inst;                                    \
	static const struct wm8960_emul_cfg wm8960_emul_cfg_##inst = {                             \
		.addr = DT_INST_REG_ADDR(inst),                                                    \
	};                                                                                         \
	EMUL_DT_INST_DEFINE(inst, wm8960_emul_init, &wm8960_emul_data_##inst,                      \
			    &wm8960_emul_cfg_##inst, (struct i2c_emul_api *)&wm8960_emul_api_i2c,  \
			    NULL)

DT_INST_FOREACH_STATUS_OKAY(WM8960_EMUL_DEFINE)
```

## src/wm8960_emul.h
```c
/*
 * Copyright 2026 NXP
 *
 * SPDX-License-Identifier: Apache-2.0
 */

#ifndef ZEPHYR_TESTS_DRIVERS_AUDIO_WM8960_SRC_WM8960_EMUL_H_
#define ZEPHYR_TESTS_DRIVERS_AUDIO_WM8960_SRC_WM8960_EMUL_H_

#include <stdbool.h>
#include <stdint.h>

#include <zephyr/drivers/emul.h>

/**
 * @brief Get the value of a WM8960 register
 *
 * @param target Pointer to the emulator
 * @param reg_addr Register address to read
 * @return Register value
 */
uint16_t wm8960_emul_get_reg(const struct emul *target, uint8_t reg_addr);

/**
 * @brief Set the value of a WM8960 register
 *
 * @param target Pointer to the emulator
 * @param reg_addr Register address to write
 * @param val Value to write
 */
void wm8960_emul_set_reg(const struct emul *target, uint8_t reg_addr, uint16_t val);

/**
 * @brief Check if the WM8960 is powered up
 *
 * @param target Pointer to the emulator
 * @return true if powered up, false otherwise
 */
bool wm8960_emul_is_powered_up(const struct emul *target);

/**
 * @brief Check if the DAC is enabled
 *
 * @param target Pointer to the emulator
 * @return true if DAC is enabled, false otherwise
 */
bool wm8960_emul_is_dac_enabled(const struct emul *target);

/**
 * @brief Check if the ADC is enabled
 *
 * @param target Pointer to the emulator
 * @return true if ADC is enabled, false otherwise
 */
bool wm8960_emul_is_adc_enabled(const struct emul *target);

/**
 * @brief Check if the headphone output is enabled
 *
 * @param target Pointer to the emulator
 * @return true if headphone output is enabled, false otherwise
 */
bool wm8960_emul_is_headphone_enabled(const struct emul *target);

/**
 * @brief Check if the speaker output is enabled
 *
 * @param target Pointer to the emulator
 * @return true if speaker output is enabled, false otherwise
 */
bool wm8960_emul_is_speaker_enabled(const struct emul *target);

/**
 * @brief Get the volume setting for a specific channel
 *
 * @param target Pointer to the emulator
 * @param channel Channel to get volume for:
 *                0 = Left DAC, 1 = Right DAC
 *                2 = Left Headphone, 3 = Right Headphone
 *                4 = Left Speaker, 5 = Right Speaker
 *                6 = Left ADC, 7 = Right ADC
 * @return Volume setting
 */
uint16_t wm8960_emul_get_volume(const struct emul *target, uint8_t channel);

/**
 * @brief Check if a channel is muted
 *
 * @param target Pointer to the emulator
 * @param channel Channel to check:
 *                0 = Left DAC, 1 = Right DAC
 *                2 = Left Headphone, 3 = Right Headphone
 *                4 = Left Speaker, 5 = Right Speaker
 * @return true if muted, false otherwise
 */
bool wm8960_emul_is_muted(const struct emul *target, uint8_t channel);

/**
 * @brief Get the configured audio interface format
 *
 * @param target Pointer to the emulator
 * @return Audio format (0 = Right Justified, 1 = Left Justified, 2 = I2S, 3 = DSP)
 */
uint8_t wm8960_emul_get_audio_format(const struct emul *target);

/**
 * @brief Get the configured word length
 *
 * @param target Pointer to the emulator
 * @return Word length in bits (16, 20, 24, or 32)
 */
uint8_t wm8960_emul_get_word_length(const struct emul *target);

/**
 * @brief Check if the PLL is enabled
 *
 * @param target Pointer to the emulator
 * @return true if PLL is enabled, false otherwise
 */
bool wm8960_emul_is_pll_enabled(const struct emul *target);

#endif /* ZEPHYR_TESTS_DRIVERS_AUDIO_WM8960_SRC_WM8960_EMUL_H_ */
```
